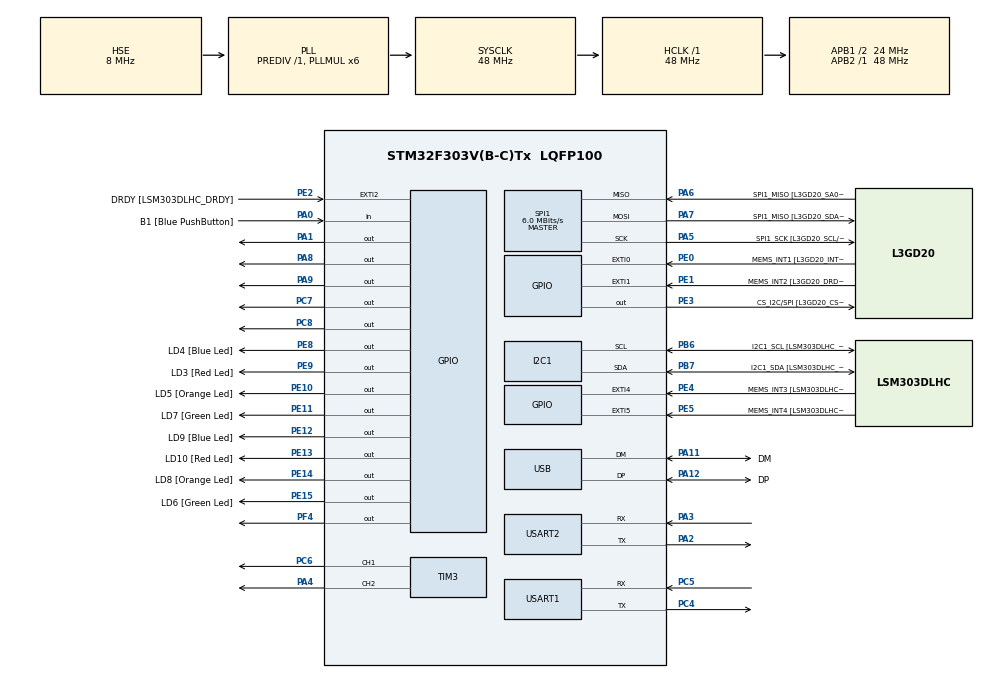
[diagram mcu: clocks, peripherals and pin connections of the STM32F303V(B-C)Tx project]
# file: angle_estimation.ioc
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I2C1.Timing=0x00201D2B
I2C1.Timing-I2C=0x2000090E
Mcu.Family=STM32F3
Mcu.Name=STM32F303V(B-C)Tx
Mcu.Package=LQFP100
NVIC.PriorityGroup=NVIC_PRIORITYGROUP_0
NVIC.TIM2_IRQn=true\:0\:0\:false\:false\:true\:true\:true\:true
PA0.GPIO_Label=B1 [Blue PushButton]
PA0.Signal=GPIO_Input
PA1.Signal=GPIO_Output
PA11.GPIO_Label=DM
PA11.Mode=Device
PA11.Signal=USB_DM
PA12.GPIO_Label=DP
PA12.Mode=Device
PA12.Signal=USB_DP
PA13.GPIO_Label=SWDIO
PA13.Mode=Serial_Wire
PA13.Signal=SYS_JTMS-SWDIO
PA14.GPIO_Label=SWCLK
PA14.Mode=Serial_Wire
PA14.Signal=SYS_JTCK-SWCLK
PA2.Mode=Asynchronous
PA2.Signal=USART2_TX
PA3.Mode=Asynchronous
PA3.Signal=USART2_RX
PA4.Signal=S_TIM3_CH2
PA5.GPIO_Label=SPI1_SCK [L3GD20_SCL/SPC]
PA5.Mode=Full_Duplex_Master
PA5.Signal=SPI1_SCK
PA6.GPIO_Label=SPI1_MISO [L3GD20_SA0/SDO]
PA6.Mode=Full_Duplex_Master
PA6.Signal=SPI1_MISO
PA7.GPIO_Label=SPI1_MISO [L3GD20_SDA/SDI/SDO]
PA7.Mode=Full_Duplex_Master
PA7.Signal=SPI1_MOSI
PA8.Signal=GPIO_Output
PA9.Signal=GPIO_Output
PB3.GPIO_Label=SWO
PB3.Signal=SYS_JTDO-TRACESWO
PB6.GPIO_Label=I2C1_SCL [LSM303DLHC_SCL]
PB6.GPIO_Pu=GPIO_PULLUP
PB6.Mode=I2C
PB6.Signal=I2C1_SCL
PB7.GPIO_Label=I2C1_SDA [LSM303DLHC_SDA]
PB7.GPIO_Pu=GPIO_PULLUP
PB7.Mode=I2C
PB7.Signal=I2C1_SDA
PC14-OSC32_IN.GPIO_Label=OSC32_IN
PC14-OSC32_IN.Signal=RCC_OSC32_IN
PC15-OSC32_OUT.GPIO_Label=OSC32_OUT
PC15-OSC32_OUT.Signal=RCC_OSC32_OUT
PC4.Mode=Asynchronous
PC4.Signal=USART1_TX
PC5.Mode=Asynchronous
PC5.Signal=USART1_RX
PC6.Signal=S_TIM3_CH1
PC7.Signal=GPIO_Output
PC8.Signal=GPIO_Output
PE0.GPIO_Label=MEMS_INT1 [L3GD20_INT1]
PE0.GPIO_ModeDefaultEXTI=GPIO_MODE_EVT_RISING
PE0.Signal=GPXTI0
PE1.GPIO_Label=MEMS_INT2 [L3GD20_DRDY/INT2]
PE1.GPIO_ModeDefaultEXTI=GPIO_MODE_EVT_RISING
PE1.Signal=GPXTI1
PE10.GPIO_Label=LD5 [Orange Led]
PE10.Signal=GPIO_Output
PE11.GPIO_Label=LD7 [Green Led]
PE11.Signal=GPIO_Output
PE12.GPIO_Label=LD9 [Blue Led]
PE12.Signal=GPIO_Output
PE13.GPIO_Label=LD10 [Red Led]
PE13.Signal=GPIO_Output
PE14.GPIO_Label=LD8 [Orange Led]
PE14.Signal=GPIO_Output
PE15.GPIO_Label=LD6 [Green Led]
PE15.Signal=GPIO_Output
PE2.GPIO_Label=DRDY [LSM303DLHC_DRDY]
PE2.GPIO_ModeDefaultEXTI=GPIO_MODE_EVT_RISING
PE2.Signal=GPXTI2
PE3.GPIO_Label=CS_I2C/SPI [L3GD20_CS_I2C/SPI]
PE3.Signal=GPIO_Output
PE4.GPIO_Label=MEMS_INT3 [LSM303DLHC_INT1]
PE4.GPIO_ModeDefaultEXTI=GPIO_MODE_EVT_RISING
PE4.Signal=GPXTI4
PE5.GPIO_Label=MEMS_INT4 [LSM303DLHC_INT2]
PE5.GPIO_ModeDefaultEXTI=GPIO_MODE_EVT_RISING
PE5.Signal=GPXTI5
PE8.GPIO_Label=LD4 [Blue Led]
PE8.Signal=GPIO_Output
PE9.GPIO_Label=LD3 [Red Led]
PE9.Signal=GPIO_Output
PF0-OSC_IN.GPIO_Label=OSC_IN
PF0-OSC_IN.Mode=HSE-External-Clock-Source
PF0-OSC_IN.Signal=RCC_OSC_IN
PF1-OSC_OUT.GPIO_Label=OSC_OUT
PF1-OSC_OUT.Signal=RCC_OSC_OUT
PF4.Signal=GPIO_Output
ProjectManager.HeapSize=0x200
ProjectManager.StackSize=0x400
ProjectManager.TargetToolchain=CMake
RCC.AHBFreq_Value=48000000
RCC.APB1CLKDivider=RCC_HCLK_DIV2
RCC.APB1Freq_Value=24000000
RCC.APB1TimFreq_Value=48000000
RCC.APB2Freq_Value=48000000
RCC.APB2TimFreq_Value=48000000
RCC.CortexFreq_Value=48000000
RCC.HCLKFreq_Value=48000000
RCC.HSE_VALUE=8000000
RCC.HSI_VALUE=8000000
RCC.LSE_VALUE=32768
RCC.PLLMUL=RCC_PLL_MUL6
RCC.SYSCLKFreq_VALUE=48000000
RCC.SYSCLKSourceVirtual=RCC_SYSCLKSOURCE_PLLCLK
RCC.USBFreq_Value=48000000
SH.S_TIM3_CH1.0=TIM3_CH1,PWM Generation1 CH1
SH.S_TIM3_CH2.0=TIM3_CH2,PWM Generation2 CH2
SPI1.BaudRatePrescaler=SPI_BAUDRATEPRESCALER_8
SPI1.BaudRatePrescaler-Full_Duplex_Master=SPI_BAUDRATEPRESCALER_2
SPI1.CLKPhase=SPI_PHASE_2EDGE
SPI1.CLKPolarity=SPI_POLARITY_HIGH
SPI1.CalculateBaudRate=6.0 MBits/s
SPI1.CalculateBaudRate-Full_Duplex_Master=24.0 MBits/s
SPI1.DataSize=SPI_DATASIZE_8BIT
SPI1.Direction=SPI_DIRECTION_2LINES
SPI1.Mode=SPI_MODE_MASTER
SPI1.Mode-Full_Duplex_Master=SPI_MODE_MASTER
SPI1.VirtualType=VM_MASTER
TIM2.Period=99
TIM2.Prescaler=4799
TIM3.Channel-PWM\ Generation1\ CH1=TIM_CHANNEL_1
TIM3.Channel-PWM\ Generation2\ CH2=TIM_CHANNEL_2
USART1.VirtualMode-Asynchronous=VM_ASYNC
USART2.VirtualMode-Asynchronous=VM_ASYNC
VP_TIM2_VS_ClockSourceINT.Mode=Internal
board=STM32F3DISCOVERY

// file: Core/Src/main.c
/* USER CODE BEGIN Header */
/**
******************************************************************************
* @file : main.c
* @brief : Main program body
******************************************************************************
* @attention
*
* Copyright (c) 2025 STMicroelectronics.
* All rights reserved.
*
* This software is licensed under terms that can be found in the LICENSE file
* in the root directory of this software component.
* If no LICENSE file comes with this software, it is provided AS-IS.
*
******************************************************************************
*/
/* USER CODE END Header */
#include "main.h"

/* USER CODE BEGIN PTD */
#include <stdio.h>
#include "stm32f303xc.h"
#include "stm32f3xx_hal_tim.h"
#include <math.h>
#include <string.h>
#include <stdarg.h>
/* USER CODE END PTD */

I2C_HandleTypeDef hi2c1;

SPI_HandleTypeDef hspi1;

TIM_HandleTypeDef htim2;
TIM_HandleTypeDef htim3;

UART_HandleTypeDef huart1;
UART_HandleTypeDef huart2;

PCD_HandleTypeDef hpcd_USB_FS;

/* USER CODE BEGIN PV */
volatile int16_t ax_raw, ay_raw, az_raw;
volatile uint8_t new_data_ready = 0;

#define LSM303AGR_ACC_I2C_ADDR_WRITE  0x32
#define LSM303AGR_ACC_I2C_ADDR_READ   0x33

#define CTRL_REG1_A   0x20
#define CTRL_REG4_A   0x23

#define OUT_X_L_A     0x28

#define I3G4250D_WHO_AM_I      0x0F
#define I3G4250D_CTRL_REG1     0x20
#define I3G4250D_CTRL_REG4     0x23
#define I3G4250D_OUT_X_L       0x28
#define SPI_READ   0x80
#define SPI_AUTO_INC 0x40

float gx_offset = 0, gy_offset = 0, gz_offset = 0;
float gx, gy, gz;
volatile float gx_raw=0, gy_raw=0, gz_raw=0; // store raw readings

float roll = 0.0f;
float ax_g ;
float ay_g ;
float az_g ;

// --- Convert g → m/s² ---
float ax_ms2 ;
float ay_ms2 ;
float az_ms2 ;

// --- Print values ---
// char msg2[100];
// snprintf(msg2, sizeof(msg2), "%.2f,%.2f,%.2f\r\n", ax_ms2, ay_ms2, az_ms2);
// HAL_UART_Transmit(&huart1, (uint8_t*)msg2, strlen(msg2), HAL_MAX_DELAY);

float gx_corrected ;
float gy_corrected ;
float gz_corrected ;

/* ===== PID / control ===== */
#define DT_DEFAULT     0.01f // initial assumed controller dt (will compute actual dt from timer)
#define OUT_MAX         1000.0f // signed scale for pid_output (for reference)
#define OUT_MIN        -1000.0f
#define INTEGRAL_LIMIT  500.0f

float Kp = 30.0f;   // Much more aggressive
float Ki = 0.0f;    // Start with zero, add later
float Kd = 5.0f;    // Essential for damping oscillations

float pid_integral = 0.0f;
float pid_prev_error = 0.0f;
float pid_output = 0.0f;

float setpoint_angle = 0.0f; // target angle in degrees (upright = 0)

volatile uint8_t ctrl_flag = 0;
volatile uint16_t ctrl_tick = 0;
uint16_t CTRL_TICKS_PER_PID = 1; // set so that timer_freq / CTRL_TICKS_PER_PID = 1/DT
float DT = DT_DEFAULT; // actual controller dt (you will compute or set later)

typedef enum {
    MOTOR_RIGHT = 0,
    MOTOR_LEFT = 1
} MotorID;

typedef enum {
    DIR_FORWARD = 1,
    DIR_BACKWARD = -1,
    DIR_BRAKE = 0
} MotorDirection;

// Define a structure to store PID parameters and state
typedef struct {
    float setpoint;  // Target angle (0 degrees for upright)
    float kp, ki, kd;
    float integral;
    float prev_error;
    float output;    // Output motor speed
} BalancePID_t;

// Define the balance_pid object globally
BalancePID_t balance_pid = {
    .setpoint = 0.0f,  // Target angle (typically 0 degrees = upright)
    .kp = 30.0f,        // Proportional gain (you can adjust this value)
    .ki = 0.0f,        // Integral gain
    .kd = 5.0f,        // Derivative gain
    .integral = 0.0f,
    .prev_error = 0.0f,
    .output = 0.0f
};

/* USER CODE END PV */

void SystemClock_Config(void);
static void MX_GPIO_Init(void);
static void MX_I2C1_Init(void);
static void MX_SPI1_Init(void);
static void MX_USB_PCD_Init(void);
static void MX_USART1_UART_Init(void);
static void MX_TIM2_Init(void);
static void MX_USART2_UART_Init(void);
static void MX_TIM3_Init(void);
/* USER CODE BEGIN PFP */
volatile uint8_t uart_flag = 0;
volatile uint16_t tick_count = 0;
/* --- Bluetooth Command System --- */
volatile char bt_rx;
volatile uint8_t bt_new_cmd = 0;

/* USER CODE END PFP */

/* USER CODE BEGIN 0 */
//timer interrupt handler

void LSM303AGR_Init(void)
{
    uint8_t ctrl1 = 0x67;   // ODR=200Hz, all axes enabled
    uint8_t ctrl4 = 0x00;   // ±2g, high-resolution disabled

    HAL_I2C_Mem_Write(&hi2c1, LSM303AGR_ACC_I2C_ADDR_WRITE,
                      CTRL_REG1_A, 1, &ctrl1, 1, HAL_MAX_DELAY);

    HAL_I2C_Mem_Write(&hi2c1, LSM303AGR_ACC_I2C_ADDR_WRITE,
                      CTRL_REG4_A, 1, &ctrl4, 1, HAL_MAX_DELAY);
}

void LSM303AGR_Read_Accelerometer(int16_t *ax, int16_t *ay, int16_t *az)
{
    uint8_t buffer[6];

    HAL_I2C_Mem_Read(&hi2c1, LSM303AGR_ACC_I2C_ADDR_READ,
                     OUT_X_L_A | 0x80, 1, buffer, 6, HAL_MAX_DELAY);

    int16_t rawX = (int16_t)((buffer[1] << 8) | buffer[0]);
    int16_t rawY = (int16_t)((buffer[3] << 8) | buffer[2]);
    int16_t rawZ = (int16_t)((buffer[5] << 8) | buffer[4]);

    // Convert 16-bit to 10-bit (datasheet requirement)
    *ax = rawX >> 6;
    *ay = rawY >> 6;
    *az = rawZ >> 6;
}

static void Gyro_CS_Low() {
    HAL_GPIO_WritePin(CS_I2C_SPI_GPIO_Port, CS_I2C_SPI_Pin, GPIO_PIN_RESET);
}

static void Gyro_CS_High() {
    HAL_GPIO_WritePin(CS_I2C_SPI_GPIO_Port, CS_I2C_SPI_Pin, GPIO_PIN_SET);
}
void I3G4250D_Write(uint8_t reg, uint8_t value)
{
    Gyro_CS_Low();

    uint8_t data[2] = { reg, value };
    HAL_SPI_Transmit(&hspi1, data, 2, HAL_MAX_DELAY);

    Gyro_CS_High();
}
void I3G4250D_Read(uint8_t reg, uint8_t *buffer, uint8_t len)
{
    Gyro_CS_Low();

    uint8_t address = reg | SPI_READ | SPI_AUTO_INC;
    HAL_SPI_Transmit(&hspi1, &address, 1, HAL_MAX_DELAY);
    HAL_SPI_Receive(&hspi1, buffer, len, HAL_MAX_DELAY);

    Gyro_CS_High();
}
void I3G4250D_Init(void)
{
    // CTRL_REG1: enable X,Y,Z, set ODR=200 Hz, BW=25Hz
    I3G4250D_Write(I3G4250D_CTRL_REG1, 0x8F);
    // CTRL_REG4: ±245 dps full scale
    I3G4250D_Write(I3G4250D_CTRL_REG4, 0x00);

}
void I3G4250D_Read_Gyro(float *gx, float *gy, float *gz)
{
    uint8_t buffer[6];
    I3G4250D_Read(I3G4250D_OUT_X_L, buffer, 6);

    int16_t rawX = (buffer[1] << 8) | buffer[0];
    int16_t rawY = (buffer[3] << 8) | buffer[2];
    int16_t rawZ = (buffer[5] << 8) | buffer[4];

    *gx = rawX * 0.00875f;
    *gy = rawY * 0.00875f;
    *gz = rawZ * 0.00875f;

}
void I3G4250D_Calibrate(void)
{
    int samples = 100;
    float sum_x=0, sum_y=0, sum_z=0;
    for(int i=0; i<samples; i++)
    {
        float gx, gy, gz;
        I3G4250D_Read_Gyro(&gx, &gy, &gz);
        sum_x += gx;
        sum_y += gy;
        sum_z += gz;
        HAL_Delay(5); // small delay between readings
    }
    gx_offset = sum_x / samples;
    gy_offset = sum_y / samples;
    gz_offset = sum_z / samples;
}

void Angleestimate()
{
    // Convert raw to g
    ax_g = ax_raw * 0.0039f;
    ay_g = ay_raw * 0.0039f;
    az_g = az_raw * 0.0039f;

    // Convert to m/s^2
    ax_ms2 = ax_g * 9.80665f;
    ay_ms2 = ay_g * 9.80665f;
    az_ms2 = az_g * 9.80665f;

    // Gyro offsets removed
    gx_corrected = gx_raw - gx_offset;
    gy_corrected = gy_raw - gy_offset;
    gz_corrected = gz_raw - gz_offset;

    // --- Your chosen axes ---
    float roll_acc  = atan2f(ax_ms2, az_ms2) * 57.2958f;
    float roll_gyro = roll + gy_corrected * DT;

    // Complementary filter
    roll = 0.96f * roll_gyro + 0.04f * roll_acc;
}

float PID_Update(float measurement)
{
    float error = measurement - setpoint_angle;  // ✓ CORRECT // setpoint - measurement

    // Integral (anti-windup)
    pid_integral += error * DT;
    if (pid_integral > INTEGRAL_LIMIT) pid_integral = INTEGRAL_LIMIT;
    if (pid_integral < -INTEGRAL_LIMIT) pid_integral = -INTEGRAL_LIMIT;

    // Derivative (on error)
    float derivative = (error - pid_prev_error) / DT;

    float out = Kp * error + Ki * pid_integral + Kd * derivative;

    // Clamp final output
    if (out > OUT_MAX) out = OUT_MAX;
    if (out < OUT_MIN) out = OUT_MIN;

    pid_prev_error = error;
    pid_output = out;
    return out;
}

void Motor_SetDirection(MotorID motor, MotorDirection dir) {
    if (motor == MOTOR_RIGHT) {
        if (dir == DIR_FORWARD) {
            HAL_GPIO_WritePin(GPIOA, GPIO_PIN_1, GPIO_PIN_SET);   // AIN1 = 1
            HAL_GPIO_WritePin(GPIOF, GPIO_PIN_4, GPIO_PIN_RESET); // AIN2 = 0
        } else if (dir == DIR_BACKWARD) {
            HAL_GPIO_WritePin(GPIOA, GPIO_PIN_1, GPIO_PIN_RESET); // AIN1 = 0
            HAL_GPIO_WritePin(GPIOF, GPIO_PIN_4, GPIO_PIN_SET);   // AIN2 = 1
        } else { // BRAKE
            HAL_GPIO_WritePin(GPIOA, GPIO_PIN_1, GPIO_PIN_RESET);
            HAL_GPIO_WritePin(GPIOF, GPIO_PIN_4, GPIO_PIN_RESET);
        }
    } else if (motor == MOTOR_LEFT) {
        if (dir == DIR_FORWARD) {
            HAL_GPIO_WritePin(GPIOC, GPIO_PIN_7, GPIO_PIN_SET);   // BIN1 = 1
            HAL_GPIO_WritePin(GPIOC, GPIO_PIN_8, GPIO_PIN_RESET); // BIN2 = 0
        } else if (dir == DIR_BACKWARD) {
            HAL_GPIO_WritePin(GPIOC, GPIO_PIN_7, GPIO_PIN_RESET); // BIN1 = 0
            HAL_GPIO_WritePin(GPIOC, GPIO_PIN_8, GPIO_PIN_SET);   // BIN2 = 1
        } else { // BRAKE
            HAL_GPIO_WritePin(GPIOC, GPIO_PIN_7, GPIO_PIN_RESET);
            HAL_GPIO_WritePin(GPIOC, GPIO_PIN_8, GPIO_PIN_RESET);
        }
    }
}

void Motor_SetPWM(MotorID motor, uint16_t pwm_value) {
    // Clamp to max
    if (pwm_value > 1000)
    pwm_value = 1000;

    // Scale to TIM3 period (65535)
    uint32_t compare = (pwm_value * 65535) / 1000;

    if (motor == MOTOR_RIGHT)
    {
    __HAL_TIM_SET_COMPARE(&htim3, TIM_CHANNEL_1, compare);
    }
    else if (motor == MOTOR_LEFT)
    {
    __HAL_TIM_SET_COMPARE(&htim3, TIM_CHANNEL_2, compare);
}
}

void Motor_SetSpeed(MotorID motor, int16_t speed) {
    if (speed > 0) {
        Motor_SetDirection(motor, DIR_FORWARD);
        Motor_SetPWM(motor, speed);  // Set positive speed (forward)
    } else if (speed < 0) {
        Motor_SetDirection(motor, DIR_BACKWARD);
        Motor_SetPWM(motor, -speed); // Set negative speed (backward)
    } else {
        Motor_SetDirection(motor, DIR_BRAKE);
        Motor_SetPWM(motor, 0);  // Stop the motor
    }
}

//PID compute function for balancing
float Balance_PID_Compute(BalancePID_t *pid, float angle, float dt) {
    float error = pid->setpoint - angle;

    // Deadband - stop if nearly balanced
    if (fabsf(error) < 0.3f)
    {
    pid->integral = 0.0f;
    pid->prev_error = error;
    return 0.0f; // Stop motors when balanced
    }

    // Integral with anti-windup
    pid->integral += error * dt;
    if (pid->integral > 50.0f)
    pid->integral = 50.0f;
    if (pid->integral < -50.0f)
    pid->integral = -50.0f;

    // Derivative
    float derivative = (error - pid->prev_error) / dt;
    pid->prev_error = error;

    // PID output (PWM value)
    float output = pid->kp * error +
    pid->ki * pid->integral +
    pid->kd * derivative;

    // Limit to PWM range
    if (output > 999.0f)
    output = 999.0f;
    if (output < -999.0f)
    output = -999.0f;

    // PWM deadband
    if (fabsf(output) < 100.0f)
    output = 0.0f;

    return output;
}

uint8_t Is_Fallen(float angle)
{
  // If angle is beyond ±45 degrees, robot has fallen
  if (fabsf(angle) > 45.0f)
  {
  return 1; // Fallen
  }
  return 0; // Still balancing
}

void HAL_TIM_PeriodElapsedCallback(TIM_HandleTypeDef *htim)
{
  if(htim->Instance == TIM2)
  {
    HAL_GPIO_TogglePin(GPIOA, GPIO_PIN_8); // 50 Hz toggle for GPIO1
    tick_count++;
    LSM303AGR_Read_Accelerometer(&ax_raw, &ay_raw, &az_raw);
    I3G4250D_Read_Gyro(&gx_raw, &gy_raw, &gz_raw);
    Angleestimate();
    if (tick_count >= 10) // 100/10 = 10 Hz
    {
    tick_count = 0;
    uart_flag = 1; // set flag for main loop
    }

    // control tick: call PID every CTRL_TICKS_PER_PID interrupts
    ctrl_tick++;
    if (ctrl_tick >= CTRL_TICKS_PER_PID) {
        ctrl_tick = 0;
        ctrl_flag = 1;
    }

  }
}

void HAL_UART_RxCpltCallback(UART_HandleTypeDef *huart)
{
    if (huart->Instance == USART1)   // Bluetooth UART
    {
        bt_new_cmd = 1;  // Mark new command received

        // Restart interrupt reception
        HAL_UART_Receive_IT(&huart1, (uint8_t *)&bt_rx, 1);
    }
}

void Process_BT_Command(char cmd)
{
    switch(cmd)
    {
        case 'F':   // Move forward
            balance_pid.setpoint = -5.0f;
            HAL_UART_Transmit(&huart1, (uint8_t*)"FORWARD\r\n", 9, 100);
            break;

        case 'B':   // Move backward
            balance_pid.setpoint = 5.0f;
            HAL_UART_Transmit(&huart1, (uint8_t*)"BACK\r\n", 6, 100);
            break;

        case 'L':   // Turn left
            Motor_SetSpeed(MOTOR_LEFT, -200);
            Motor_SetSpeed(MOTOR_RIGHT,  200);
            HAL_Delay(100);
            HAL_UART_Transmit(&huart1, (uint8_t*)"LEFT\r\n", 6, 100);
            break;

        case 'R':   // Turn right
            Motor_SetSpeed(MOTOR_LEFT, 200);
            Motor_SetSpeed(MOTOR_RIGHT,-200);
            HAL_Delay(100);
            HAL_UART_Transmit(&huart1, (uint8_t*)"RIGHT\r\n", 7, 100);
            break;

        case 'S':   // Stop robot
            balance_pid.setpoint = 0.0f;
            Motor_SetSpeed(MOTOR_LEFT, 0);
            Motor_SetSpeed(MOTOR_RIGHT, 0);
            HAL_UART_Transmit(&huart1, (uint8_t*)"STOP\r\n", 6, 100);
            break;

        default:
            HAL_UART_Transmit(&huart1, (uint8_t*)"UNKNOWN\r\n", 9, 100);
            break;
    }
}

/* USER CODE END 0 */

int main(void)
{

  /* MCU Configuration--------------------------------------------------------*/

  /* Reset of all peripherals, Initializes the Flash interface and the Systick. */

HAL_Init();

  /* Configure the system clock */
  SystemClock_Config();

  /* Initialize all configured peripherals */
  MX_GPIO_Init();
  MX_I2C1_Init();
  MX_SPI1_Init();
  MX_USB_PCD_Init();
  MX_USART1_UART_Init();
  MX_TIM2_Init();
  MX_USART2_UART_Init();
  MX_TIM3_Init();
  /* USER CODE BEGIN 2 */
LSM303AGR_Init();
I3G4250D_Init();
I3G4250D_Calibrate();

pid_integral=0.0f;
pid_prev_error=0.0f;
pid_output=0.0f;

HAL_TIM_PWM_Start(&htim3, TIM_CHANNEL_1);
HAL_TIM_PWM_Start(&htim3, TIM_CHANNEL_2);

uint32_t period = htim3.Init.Period; // 65535 in your config
uint32_t pulse = (period + 1) / 2;
__HAL_TIM_SET_COMPARE(&htim3, TIM_CHANNEL_1, pulse);

__HAL_TIM_SET_COMPARE(&htim3, TIM_CHANNEL_1, 32768); // 50% of 65535
__HAL_TIM_SET_COMPARE(&htim3, TIM_CHANNEL_2, 32768);
Motor_SetSpeed(MOTOR_LEFT, 0);
Motor_SetSpeed(MOTOR_RIGHT, 0);

HAL_TIM_Base_Start_IT(&htim2); //start interrupt timer

char msg[100];
snprintf(msg, sizeof(msg), "Balancer Started - Kp:%.1f Ki:%.1f Kd:%.1f\r\n", Kp, Ki, Kd);
HAL_UART_Transmit(&huart2, (uint8_t*)msg, strlen(msg), HAL_MAX_DELAY);
HAL_UART_Receive_IT(&huart2, (uint8_t *)&bt_rx, 1);   // Start receiving 1-byte commands from Bluetooth

  /* USER CODE END 2 */

  /* Infinite loop */
while (1)
{

    /* USER CODE BEGIN 3 */
    // === 10ms Control Loop (100Hz) ===

snprintf(msg, sizeof(msg), "Balancer Started - Kp:%.1f Ki:%.1f Kd:%.1f\r\n", Kp, Ki, Kd);
    HAL_UART_Transmit(&huart2, (uint8_t*)msg, strlen(msg), HAL_MAX_DELAY);
HAL_UART_Receive_IT(&huart2, (uint8_t *)&bt_rx, 1);   // Start receiving 1-byte commands from Bluetooth

    if (bt_new_cmd)
{
    bt_new_cmd = 0;
    Process_BT_Command(bt_rx);
}

uint32_t now = HAL_GetTick();
static uint32_t last_control_time = 0;

if (now - last_control_time >= 10) // 100Hz control
{
last_control_time = now;
DT  = 0.01f; // 10ms = 0.01s

// --- SAFETY CHECK ---
if (Is_Fallen(roll))
{
Motor_SetSpeed(MOTOR_LEFT, 0);
Motor_SetSpeed(MOTOR_RIGHT, 0);
balance_pid.integral = 0.0f;
printf("FALLEN! Angle: %.1f\r\n", roll);
continue;
}

// --- Balance PID (Angle -> PWM) ---
float pwm = Balance_PID_Compute(&balance_pid, roll, DT);

// Apply same PWM to both motors
Motor_SetSpeed(MOTOR_LEFT, (int16_t)pwm);
Motor_SetSpeed(MOTOR_RIGHT, (int16_t)pwm);

// --- Debug Output with Error ---
static uint8_t print_counter = 0;
print_counter++;
if (print_counter >= 10) // Print every 100ms
{
print_counter = 0;
float error = balance_pid.setpoint - roll;
printf("Ang:%.2f | Err:%.2f | PWM:%.0f | I:%.2f\r\n",
roll, error, pwm, balance_pid.integral);
}
}

  }
  /* USER CODE END 3 */
}

void SystemClock_Config(void)
{
  RCC_OscInitTypeDef RCC_OscInitStruct = {0};
  RCC_ClkInitTypeDef RCC_ClkInitStruct = {0};
  RCC_PeriphCLKInitTypeDef PeriphClkInit = {0};

  /** Initializes the RCC Oscillators according to the specified parameters
  * in the RCC_OscInitTypeDef structure.
  */
  RCC_OscInitStruct.OscillatorType = RCC_OSCILLATORTYPE_HSI|RCC_OSCILLATORTYPE_HSE;
  RCC_OscInitStruct.HSEState = RCC_HSE_BYPASS;
  RCC_OscInitStruct.HSEPredivValue = RCC_HSE_PREDIV_DIV1;
  RCC_OscInitStruct.HSIState = RCC_HSI_ON;
  RCC_OscInitStruct.HSICalibrationValue = RCC_HSICALIBRATION_DEFAULT;
  RCC_OscInitStruct.PLL.PLLState = RCC_PLL_ON;
  RCC_OscInitStruct.PLL.PLLSource = RCC_PLLSOURCE_HSE;
  RCC_OscInitStruct.PLL.PLLMUL = RCC_PLL_MUL6;
  if (HAL_RCC_OscConfig(&RCC_OscInitStruct) != HAL_OK)
  {
    Error_Handler();
  }

  /** Initializes the CPU, AHB and APB buses clocks
  */
  RCC_ClkInitStruct.ClockType = RCC_CLOCKTYPE_HCLK|RCC_CLOCKTYPE_SYSCLK
                              |RCC_CLOCKTYPE_PCLK1|RCC_CLOCKTYPE_PCLK2;
  RCC_ClkInitStruct.SYSCLKSource = RCC_SYSCLKSOURCE_PLLCLK;
  RCC_ClkInitStruct.AHBCLKDivider = RCC_SYSCLK_DIV1;
  RCC_ClkInitStruct.APB1CLKDivider = RCC_HCLK_DIV2;
  RCC_ClkInitStruct.APB2CLKDivider = RCC_HCLK_DIV1;

  if (HAL_RCC_ClockConfig(&RCC_ClkInitStruct, FLASH_LATENCY_1) != HAL_OK)
  {
    Error_Handler();
  }
  PeriphClkInit.PeriphClockSelection = RCC_PERIPHCLK_USB|RCC_PERIPHCLK_USART1
                              |RCC_PERIPHCLK_USART2|RCC_PERIPHCLK_I2C1;
  PeriphClkInit.Usart1ClockSelection = RCC_USART1CLKSOURCE_PCLK2;
  PeriphClkInit.Usart2ClockSelection = RCC_USART2CLKSOURCE_PCLK1;
  PeriphClkInit.I2c1ClockSelection = RCC_I2C1CLKSOURCE_HSI;
  PeriphClkInit.USBClockSelection = RCC_USBCLKSOURCE_PLL;
  if (HAL_RCCEx_PeriphCLKConfig(&PeriphClkInit) != HAL_OK)
  {
    Error_Handler();
  }
}

static void MX_I2C1_Init(void)
{

  hi2c1.Instance = I2C1;
  hi2c1.Init.Timing = 0x00201D2B;
  hi2c1.Init.OwnAddress1 = 0;
  hi2c1.Init.AddressingMode = I2C_ADDRESSINGMODE_7BIT;
  hi2c1.Init.DualAddressMode = I2C_DUALADDRESS_DISABLE;
  hi2c1.Init.OwnAddress2 = 0;
  hi2c1.Init.OwnAddress2Masks = I2C_OA2_NOMASK;
  hi2c1.Init.GeneralCallMode = I2C_GENERALCALL_DISABLE;
  hi2c1.Init.NoStretchMode = I2C_NOSTRETCH_DISABLE;
  if (HAL_I2C_Init(&hi2c1) != HAL_OK)
  {
    Error_Handler();
  }

  /** Configure Analogue filter
  */
  if (HAL_I2CEx_ConfigAnalogFilter(&hi2c1, I2C_ANALOGFILTER_ENABLE) != HAL_OK)
  {
    Error_Handler();
  }

  /** Configure Digital filter
  */
  if (HAL_I2CEx_ConfigDigitalFilter(&hi2c1, 0) != HAL_OK)
  {
    Error_Handler();
  }

}

static void MX_SPI1_Init(void)
{

  /* SPI1 parameter configuration*/
  hspi1.Instance = SPI1;
  hspi1.Init.Mode = SPI_MODE_MASTER;
  hspi1.Init.Direction = SPI_DIRECTION_2LINES;
  hspi1.Init.DataSize = SPI_DATASIZE_8BIT;
  hspi1.Init.CLKPolarity = SPI_POLARITY_HIGH;
  hspi1.Init.CLKPhase = SPI_PHASE_2EDGE;
  hspi1.Init.NSS = SPI_NSS_SOFT;
  hspi1.Init.BaudRatePrescaler = SPI_BAUDRATEPRESCALER_8;
  hspi1.Init.FirstBit = SPI_FIRSTBIT_MSB;
  hspi1.Init.TIMode = SPI_TIMODE_DISABLE;
  hspi1.Init.CRCCalculation = SPI_CRCCALCULATION_DISABLE;
  hspi1.Init.CRCPolynomial = 7;
  hspi1.Init.CRCLength = SPI_CRC_LENGTH_DATASIZE;
  hspi1.Init.NSSPMode = SPI_NSS_PULSE_DISABLE;
  if (HAL_SPI_Init(&hspi1) != HAL_OK)
  {
    Error_Handler();
  }

}

static void MX_TIM2_Init(void)
{

  TIM_ClockConfigTypeDef sClockSourceConfig = {0};
  TIM_MasterConfigTypeDef sMasterConfig = {0};

  htim2.Instance = TIM2;
  htim2.Init.Prescaler = 4799;
  htim2.Init.CounterMode = TIM_COUNTERMODE_UP;
  htim2.Init.Period = 99;
  htim2.Init.ClockDivision = TIM_CLOCKDIVISION_DIV1;
  htim2.Init.AutoReloadPreload = TIM_AUTORELOAD_PRELOAD_DISABLE;
  if (HAL_TIM_Base_Init(&htim2) != HAL_OK)
  {
    Error_Handler();
  }
  sClockSourceConfig.ClockSource = TIM_CLOCKSOURCE_INTERNAL;
  if (HAL_TIM_ConfigClockSource(&htim2, &sClockSourceConfig) != HAL_OK)
  {
    Error_Handler();
  }
  sMasterConfig.MasterOutputTrigger = TIM_TRGO_RESET;
  sMasterConfig.MasterSlaveMode = TIM_MASTERSLAVEMODE_DISABLE;
  if (HAL_TIMEx_MasterConfigSynchronization(&htim2, &sMasterConfig) != HAL_OK)
  {
    Error_Handler();
  }

}

static void MX_TIM3_Init(void)
{

  TIM_MasterConfigTypeDef sMasterConfig = {0};
  TIM_OC_InitTypeDef sConfigOC = {0};

  htim3.Instance = TIM3;
  htim3.Init.Prescaler = 0;
  htim3.Init.CounterMode = TIM_COUNTERMODE_UP;
  htim3.Init.Period = 65535;
  htim3.Init.ClockDivision = TIM_CLOCKDIVISION_DIV1;
  htim3.Init.AutoReloadPreload = TIM_AUTORELOAD_PRELOAD_DISABLE;
  if (HAL_TIM_PWM_Init(&htim3) != HAL_OK)
  {
    Error_Handler();
  }
  sMasterConfig.MasterOutputTrigger = TIM_TRGO_RESET;
  sMasterConfig.MasterSlaveMode = TIM_MASTERSLAVEMODE_DISABLE;
  if (HAL_TIMEx_MasterConfigSynchronization(&htim3, &sMasterConfig) != HAL_OK)
  {
    Error_Handler();
  }
  sConfigOC.OCMode = TIM_OCMODE_PWM1;
  sConfigOC.Pulse = 0;
  sConfigOC.OCPolarity = TIM_OCPOLARITY_HIGH;
  sConfigOC.OCFastMode = TIM_OCFAST_DISABLE;
  if (HAL_TIM_PWM_ConfigChannel(&htim3, &sConfigOC, TIM_CHANNEL_1) != HAL_OK)
  {
    Error_Handler();
  }
  if (HAL_TIM_PWM_ConfigChannel(&htim3, &sConfigOC, TIM_CHANNEL_2) != HAL_OK)
  {
    Error_Handler();
  }
  HAL_TIM_MspPostInit(&htim3);

}

static void MX_USART1_UART_Init(void)
{

  huart1.Instance = USART1;
  huart1.Init.BaudRate = 9600;
  huart1.Init.WordLength = UART_WORDLENGTH_8B;
  huart1.Init.StopBits = UART_STOPBITS_1;
  huart1.Init.Parity = UART_PARITY_NONE;
  huart1.Init.Mode = UART_MODE_TX_RX;
  huart1.Init.HwFlowCtl = UART_HWCONTROL_NONE;
  huart1.Init.OverSampling = UART_OVERSAMPLING_16;
  huart1.Init.OneBitSampling = UART_ONE_BIT_SAMPLE_DISABLE;
  huart1.AdvancedInit.AdvFeatureInit = UART_ADVFEATURE_NO_INIT;
  if (HAL_UART_Init(&huart1) != HAL_OK)
  {
    Error_Handler();
  }

}

static void MX_USART2_UART_Init(void)
{

  huart2.Instance = USART2;
  huart2.Init.BaudRate = 9600;
  huart2.Init.WordLength = UART_WORDLENGTH_8B;
  huart2.Init.StopBits = UART_STOPBITS_1;
  huart2.Init.Parity = UART_PARITY_NONE;
  huart2.Init.Mode = UART_MODE_TX_RX;
  huart2.Init.HwFlowCtl = UART_HWCONTROL_NONE;
  huart2.Init.OverSampling = UART_OVERSAMPLING_16;
  huart2.Init.OneBitSampling = UART_ONE_BIT_SAMPLE_DISABLE;
  huart2.AdvancedInit.AdvFeatureInit = UART_ADVFEATURE_NO_INIT;
  if (HAL_UART_Init(&huart2) != HAL_OK)
  {
    Error_Handler();
  }

}

static void MX_USB_PCD_Init(void)
{

  hpcd_USB_FS.Instance = USB;
  hpcd_USB_FS.Init.dev_endpoints = 8;
  hpcd_USB_FS.Init.speed = PCD_SPEED_FULL;
  hpcd_USB_FS.Init.phy_itface = PCD_PHY_EMBEDDED;
  hpcd_USB_FS.Init.low_power_enable = DISABLE;
  hpcd_USB_FS.Init.battery_charging_enable = DISABLE;
  if (HAL_PCD_Init(&hpcd_USB_FS) != HAL_OK)
  {
    Error_Handler();
  }

}

static void MX_GPIO_Init(void)
{
  GPIO_InitTypeDef GPIO_InitStruct = {0};

  /* GPIO Ports Clock Enable */
  __HAL_RCC_GPIOE_CLK_ENABLE();
  __HAL_RCC_GPIOC_CLK_ENABLE();
  __HAL_RCC_GPIOF_CLK_ENABLE();
  __HAL_RCC_GPIOA_CLK_ENABLE();
  __HAL_RCC_GPIOB_CLK_ENABLE();

  /*Configure GPIO pin Output Level */
  HAL_GPIO_WritePin(GPIOE, CS_I2C_SPI_Pin|LD4_Pin|LD3_Pin|LD5_Pin
                          |LD7_Pin|LD9_Pin|LD10_Pin|LD8_Pin
                          |LD6_Pin, GPIO_PIN_RESET);

  /*Configure GPIO pin Output Level */
  HAL_GPIO_WritePin(GPIOA, GPIO_PIN_1|GPIO_PIN_8|GPIO_PIN_9, GPIO_PIN_RESET);

  /*Configure GPIO pin Output Level */
  HAL_GPIO_WritePin(GPIOF, GPIO_PIN_4, GPIO_PIN_RESET);

  /*Configure GPIO pin Output Level */
  HAL_GPIO_WritePin(GPIOC, GPIO_PIN_7|GPIO_PIN_8, GPIO_PIN_RESET);

  /*Configure GPIO pins : DRDY_Pin MEMS_INT3_Pin MEMS_INT4_Pin MEMS_INT1_Pin
                           MEMS_INT2_Pin */
  GPIO_InitStruct.Pin = DRDY_Pin|MEMS_INT3_Pin|MEMS_INT4_Pin|MEMS_INT1_Pin
                          |MEMS_INT2_Pin;
  GPIO_InitStruct.Mode = GPIO_MODE_EVT_RISING;
  GPIO_InitStruct.Pull = GPIO_NOPULL;
  HAL_GPIO_Init(GPIOE, &GPIO_InitStruct);

  /*Configure GPIO pins : CS_I2C_SPI_Pin LD4_Pin LD3_Pin LD5_Pin
                           LD7_Pin LD9_Pin LD10_Pin LD8_Pin
                           LD6_Pin */
  GPIO_InitStruct.Pin = CS_I2C_SPI_Pin|LD4_Pin|LD3_Pin|LD5_Pin
                          |LD7_Pin|LD9_Pin|LD10_Pin|LD8_Pin
                          |LD6_Pin;
  GPIO_InitStruct.Mode = GPIO_MODE_OUTPUT_PP;
  GPIO_InitStruct.Pull = GPIO_NOPULL;
  GPIO_InitStruct.Speed = GPIO_SPEED_FREQ_LOW;
  HAL_GPIO_Init(GPIOE, &GPIO_InitStruct);

  /*Configure GPIO pin : B1_Pin */
  GPIO_InitStruct.Pin = B1_Pin;
  GPIO_InitStruct.Mode = GPIO_MODE_INPUT;
  GPIO_InitStruct.Pull = GPIO_NOPULL;
  HAL_GPIO_Init(B1_GPIO_Port, &GPIO_InitStruct);

  /*Configure GPIO pins : PA1 PA8 PA9 */
  GPIO_InitStruct.Pin = GPIO_PIN_1|GPIO_PIN_8|GPIO_PIN_9;
  GPIO_InitStruct.Mode = GPIO_MODE_OUTPUT_PP;
  GPIO_InitStruct.Pull = GPIO_NOPULL;
  GPIO_InitStruct.Speed = GPIO_SPEED_FREQ_LOW;
  HAL_GPIO_Init(GPIOA, &GPIO_InitStruct);

  /*Configure GPIO pin : PF4 */
  GPIO_InitStruct.Pin = GPIO_PIN_4;
  GPIO_InitStruct.Mode = GPIO_MODE_OUTPUT_PP;
  GPIO_InitStruct.Pull = GPIO_NOPULL;
  GPIO_InitStruct.Speed = GPIO_SPEED_FREQ_LOW;
  HAL_GPIO_Init(GPIOF, &GPIO_InitStruct);

  /*Configure GPIO pins : PC7 PC8 */
  GPIO_InitStruct.Pin = GPIO_PIN_7|GPIO_PIN_8;
  GPIO_InitStruct.Mode = GPIO_MODE_OUTPUT_PP;
  GPIO_InitStruct.Pull = GPIO_NOPULL;
  GPIO_InitStruct.Speed = GPIO_SPEED_FREQ_LOW;
  HAL_GPIO_Init(GPIOC, &GPIO_InitStruct);

}

void Error_Handler(void)
{
__disable_irq();
while (1)
{
}
}
